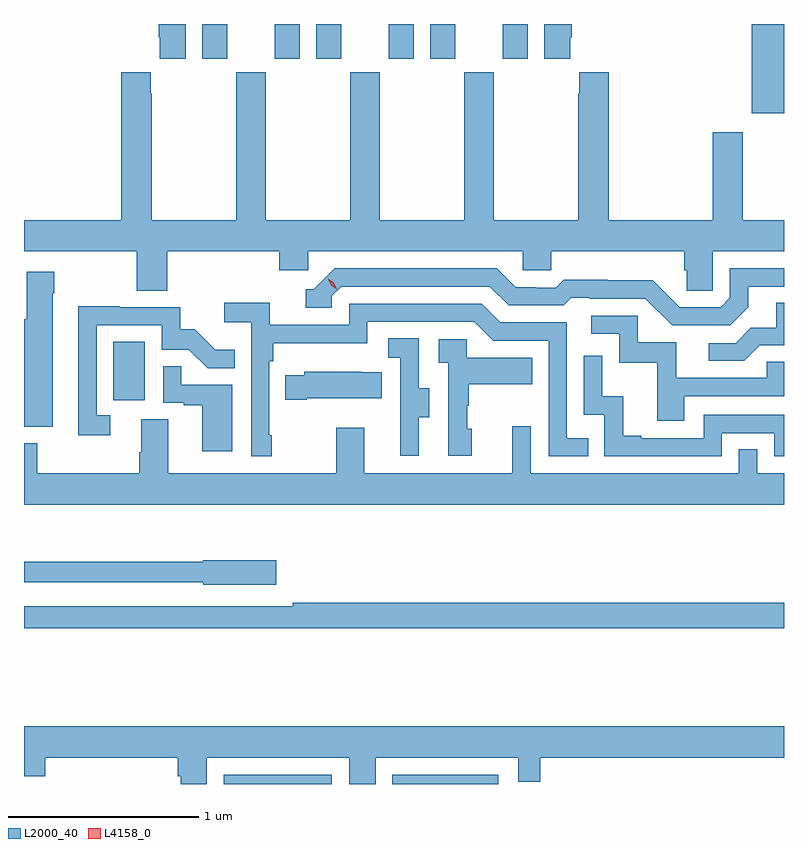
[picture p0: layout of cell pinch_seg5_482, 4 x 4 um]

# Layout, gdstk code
import gdstk
lib = gdstk.Library(unit=1e-6, precision=1e-09)
def R(c, l, rs):  # rectangles x0, y0, x1, y1
    for r in rs: c.add(gdstk.rectangle(r[:2], r[2:], *l))
def P(c, l, *ps):  # polygons
    for p in ps: c.add(gdstk.Polygon(p, *l))
L2000_40 = (2000, 40)
L4158_0 = (4158, 0)

pinch_seg5_482 = lib.new_cell('pinch_seg5_482')
R(pinch_seg5_482, L2000_40, [(933.576,847.297,934.146,847.347), (934.464,847.297,935.022,847.347), (932.996,849.318,933.16,849.625), (936.356,850.826,936.525,851.297), (933.464,851.115,933.595,851.297), (933.845,851.115,933.976,851.297), (934.064,851.115,934.195,851.297), (934.445,851.115,934.576,851.297), (934.664,851.115,934.795,851.297), (935.045,851.115,935.176,851.297)])
P(pinch_seg5_482, L2000_40, [(933.376,851.297),(933.233,851.297),(933.233,851.227),(933.239,851.227),(933.239,851.115),(933.376,851.115)],
  [(935.401,851.227),(935.408,851.227),(935.408,851.297),(935.264,851.297),(935.264,851.115),(935.401,851.115)],
  [(933.278,850.1),(933.869,850.1),(933.869,850.002),(934.02,850.002),(934.02,850.1),(935.151,850.1),(935.151,850.002),(935.301,850.002),(935.301,850.1),(935.999,850.1),(935.999,850.002),(936.013,850.002),(936.013,849.892),(936.15,849.892),(936.15,850.1),(936.525,850.1),(936.525,850.264),(936.309,850.264),(936.309,850.726),(936.149,850.726),(936.149,850.264),(935.603,850.264),(935.603,851.044),(935.447,851.044),(935.447,850.931),(935.443,850.931),(935.443,850.264),(934.998,850.264),(934.998,851.044),(934.843,851.044),(934.843,850.264),(934.398,850.264),(934.398,851.044),(934.243,851.044),(934.243,850.264),(933.798,850.264),(933.798,851.044),(933.643,851.044),(933.643,850.264),(933.198,850.264),(933.198,850.931),(933.193,850.931),(933.193,851.044),(933.038,851.044),(933.038,850.264),(932.525,850.264),(932.525,850.1),(933.118,850.1),(933.118,849.892),(933.278,849.892)],
  [(936.337,849.805),(936.337,849.915),(936.525,849.915),(936.525,850.011),(936.24,850.011),(936.24,849.855),(936.192,849.807),(935.976,849.807),(935.834,849.949),(935.598,849.949),(935.598,849.952),(935.365,849.952),(935.323,849.909),(935.22,849.909),(935.22,849.912),(935.113,849.912),(935.014,850.011),(934.161,850.011),(934.05,849.9),(934.007,849.9),(934.007,849.804),(934.146,849.804),(934.146,849.867),(934.194,849.915),(934.977,849.915),(935.076,849.816),(935.365,849.816),(935.404,849.855),(935.503,849.855),(935.503,849.852),(935.796,849.852),(935.937,849.711),(936.243,849.711)],
  [(932.677,849.881),(932.685,849.881),(932.685,849.994),(932.54,849.994),(932.54,849.742),(932.525,849.742),(932.525,849.176),(932.677,849.176)],
  [(933.829,849.133),(933.816,849.133),(933.816,849.521),(933.836,849.521),(933.836,849.617),(934.332,849.617),(934.332,849.729),(934.896,849.729),(934.995,849.63),(935.286,849.63),(935.286,849.021),(935.495,849.021),(935.495,849.117),(935.382,849.117),(935.382,849.726),(935.032,849.726),(934.933,849.825),(934.236,849.825),(934.236,849.714),(933.818,849.714),(933.818,849.83),(933.579,849.83),(933.579,849.728),(933.72,849.728),(933.72,849.021),(933.829,849.021)],
  [(936.397,849.606),(936.525,849.606),(936.525,849.83),(936.485,849.83),(936.485,849.698),(936.35,849.698),(936.27,849.618),(936.129,849.618),(936.129,849.525),(936.316,849.525)],
  [(932.98,849.237),(932.907,849.237),(932.907,849.711),(933.249,849.711),(933.249,849.582),(933.393,849.582),(933.491,849.484),(933.635,849.484),(933.635,849.583),(933.531,849.583),(933.424,849.69),(933.348,849.69),(933.348,849.807),(933.029,849.807),(933.029,849.812),(932.81,849.812),(932.81,849.132),(932.98,849.132)],
  [(936.001,849.339),(936.525,849.339),(936.525,849.519),(936.433,849.519),(936.433,849.435),(935.959,849.435),(935.959,849.621),(935.754,849.621),(935.754,849.762),(935.511,849.762),(935.511,849.666),(935.658,849.666),(935.658,849.513),(935.857,849.513),(935.857,849.21),(936.001,849.21)],
  [(934.603,849.226),(934.657,849.226),(934.657,849.381),(934.602,849.381),(934.602,849.644),(934.443,849.644),(934.443,849.541),(934.506,849.541),(934.506,849.237),(934.505,849.237),(934.505,849.024),(934.603,849.024)],
  [(934.882,849.168),(934.857,849.168),(934.857,849.287),(934.867,849.287),(934.867,849.401),(935.201,849.401),(935.201,849.541),(934.854,849.541),(934.854,849.639),(934.707,849.639),(934.707,849.515),(934.758,849.515),(934.758,849.024),(934.882,849.024)],
  [(936.198,849.144),(936.474,849.144),(936.474,849.021),(936.525,849.021),(936.525,849.24),(936.102,849.24),(936.102,849.117),(935.773,849.117),(935.773,849.13),(935.678,849.13),(935.678,849.338),(935.568,849.338),(935.568,849.55),(935.472,849.55),(935.472,849.24),(935.58,849.24),(935.58,849.021),(936.198,849.021)],
  [(933.622,849.399),(933.353,849.399),(933.353,849.497),(933.258,849.497),(933.258,849.303),(933.365,849.303),(933.365,849.291),(933.464,849.291),(933.464,849.048),(933.622,849.048)],
  [(934.012,849.326),(934.409,849.326),(934.409,849.463),(934.301,849.463),(934.301,849.466),(933.999,849.466),(933.999,849.448),(933.901,849.448),(933.901,849.319),(934.012,849.319)],
  [(936.525,848.932),(936.384,848.932),(936.384,849.059),(936.288,849.059),(936.288,848.932),(935.193,848.932),(935.193,849.181),(935.096,849.181),(935.096,848.932),(934.315,848.932),(934.315,849.172),(934.168,849.172),(934.168,848.932),(933.283,848.932),(933.283,849.218),(933.143,849.218),(933.143,849.044),(933.131,849.044),(933.131,848.932),(932.594,848.932),(932.594,849.091),(932.525,849.091),(932.525,848.768),(936.525,848.768)],
  [(933.853,848.475),(933.468,848.475),(933.468,848.467),(932.525,848.467),(932.525,848.358),(933.468,848.358),(933.468,848.345),(933.853,848.345)],
  [(936.525,848.252),(933.94,848.252),(933.94,848.232),(932.525,848.232),(932.525,848.116),(936.525,848.116)],
  [(933.486,847.436),(934.236,847.436),(934.236,847.297),(934.375,847.297),(934.375,847.436),(935.127,847.436),(935.127,847.309),(935.243,847.309),(935.243,847.436),(936.525,847.436),(936.525,847.6),(932.525,847.6),(932.525,847.338),(932.637,847.338),(932.637,847.436),(933.335,847.436),(933.335,847.338),(933.349,847.338),(933.349,847.297),(933.486,847.297)])
P(pinch_seg5_482, L4158_0, [(934.172,849.902),(934.141,849.922),(934.125,849.954),(934.125,849.955),(934.125,849.955),(934.156,849.935),(934.172,849.902),(934.172,849.902)])

lib.write_gds('pinch_seg5_482.gds')
